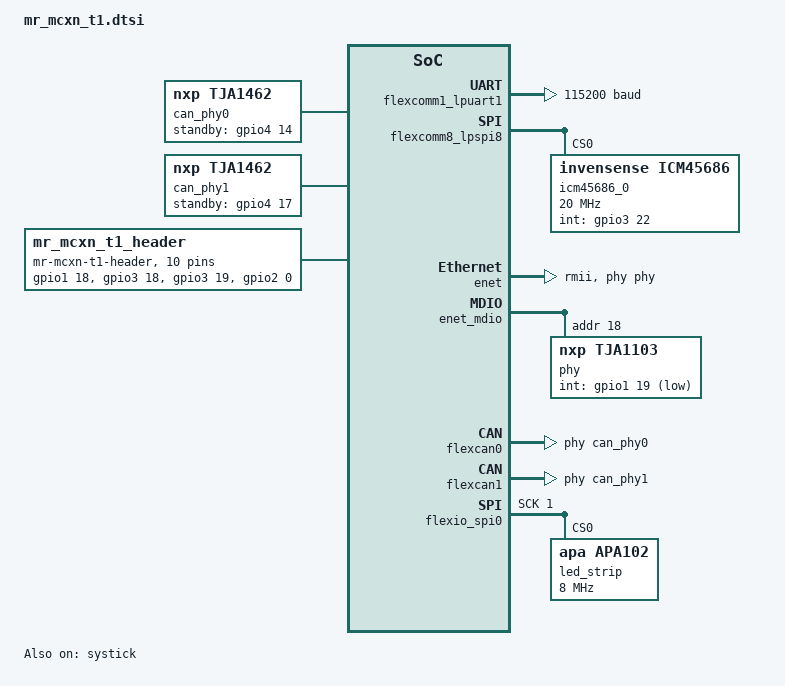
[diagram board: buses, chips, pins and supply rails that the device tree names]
/*
 * SPDX-FileCopyrightText: 2025 NXP
 * SPDX-FileCopyrightText: 2026 CogniPilot Foundation
 *
 * SPDX-License-Identifier: Apache-2.0
 */

#include "mr_mcxn_t1-pinctrl.dtsi"
#include <zephyr/dt-bindings/sensor/icm45686.h>
#include <zephyr/dt-bindings/led/led.h>

/ {
	can_phy0: can-phy0 {
		compatible = "nxp,tja1462", "can-transceiver-gpio";
		standby-gpios = <&gpio4 14 GPIO_ACTIVE_HIGH>;
		max-bitrate = <5000000>;
		#phy-cells = <0>;
	};

	can_phy1: can-phy1 {
		compatible = "nxp,tja1462", "can-transceiver-gpio";
		standby-gpios = <&gpio4 17 GPIO_ACTIVE_HIGH>;
		max-bitrate = <5000000>;
		#phy-cells = <0>;
	};

	/*
	 * Stacking-header connector nexus. Maps the raw GPIO control lines the
	 * expansion boards use (sensor interrupts, resets, indicator and user
	 * inputs) so expansion-board overlays reference stable nexus names
	 * instead of SoC GPIO controllers. The multiplexed peripheral buses are
	 * exposed separately below as labeled bus nodes.
	 */
	mr_mcxn_t1_header: mr-mcxn-t1-connector {
		compatible = "mr-mcxn-t1-header";
		#gpio-cells = <2>;
		gpio-map-mask = <0xffffffff 0xffffffc0>;
		gpio-map-pass-thru = <0 0x3f>;
		gpio-map = <0 0 &gpio1 18 0>, /* Optical flow AFBR-S50 INT */
			   <1 0 &gpio3 18 0>, /* Optical flow ICM-42688 INT */
			   <2 0 &gpio3 19 0>, /* Optical flow ICM-45686 INT */
			   <3 0 &gpio2 0 0>,  /* Optical flow PAA3905 INT */
			   <4 0 &gpio3 7 0>,  /* GNSS F9P reset */
			   <5 0 &gpio1 22 0>, /* GNSS RM3100 data-ready */
			   <6 0 &gpio3 9 0>,  /* GNSS fix-status indicator */
			   <7 0 &gpio3 0 0>,  /* GNSS F9P EXTINT time-mark */
			   <8 0 &gpio1 2 0>,  /* User input 0 */
			   <9 0 &gpio1 3 0>;  /* User input 1 */
	};
};

&flexcomm1_lpuart1 {
	current-speed = <115200>;
	pinctrl-0 = <&pinmux_flexcomm1_lpuart>;
	pinctrl-names = "default";
};

/*
 * I3C barometer and magnetometer. Left disabled by default: the I3C bus on
 * this board stalls in a busy-wait at startup, and keeping I3C off frees
 * flexcomm1 for the physical LPUART1 console (this board has no USB CDC ACM
 * console). Re-enable the bus and both sensors once the I3C startup behavior
 * is resolved.
 */
&i3c0 {
	status = "disabled";
	pinctrl-0 = <&pinmux_i3c0>;
	pinctrl-names = "default";
	i2c-scl-hz = <400000>;

	bmp581_0: bmp581_0@470000000000000050 {
		compatible = "bosch,bmp581";
		reg = <0x47 0x0 0x50>;
		status = "disabled";
	};

	bmm350_0: bmm350_0@140000000000000050 {
		compatible = "bosch,bmm350";
		reg = <0x14 0x0 0x50>;
		drdy-gpios = <&gpio0 19 GPIO_ACTIVE_HIGH>;
		push-pull-int;
		active-high-int;
		status = "disabled";
	};
};

/*
 * Stacking-header peripheral buses. Each bus carries its board-side pin
 * routing and is left disabled here; an expansion-board overlay enables the
 * function it needs. FlexCOMM3 and FlexCOMM7 are multiplexed across boards
 * (SPI, UART or I2C), so only one function per instance can be active at a
 * time.
 */
&flexcomm3_lpspi3 {
	pinctrl-0 = <&pinmux_flexcomm3_lpspi>;
	pinctrl-1 = <&pinmux_flexcomm3_lpspi_gpio>;
	pinctrl-names = "default", "priv_start";
};

mr_mcxn_t1_flow_spi_argus: &flexcomm3_lpspi3 {};

&flexcomm3_lpuart3 {
	pinctrl-0 = <&pinmux_flexcomm3_lpuart>;
	pinctrl-names = "default";
};

mr_mcxn_t1_gnss_uart2: &flexcomm3_lpuart3 {};

&flexcomm3_lpi2c3 {
	pinctrl-0 = <&pinmux_flexcomm3_lpi2c>;
	pinctrl-names = "default";
};

mr_mcxn_t1_flexio_i2c: &flexcomm3_lpi2c3 {};

&flexcomm4_lpi2c4 {
	pinctrl-0 = <&pinmux_flexcomm4_lpi2c>;
	pinctrl-names = "default";
};

mr_mcxn_t1_gnss_i2c: &flexcomm4_lpi2c4 {};

&flexcomm6_lpspi6 {
	pinctrl-0 = <&pinmux_flexcomm6_lpspi>;
	pinctrl-names = "default";
};

mr_mcxn_t1_flow_spi_imu42688: &flexcomm6_lpspi6 {};

&flexcomm7_lpspi7 {
	pinctrl-0 = <&pinmux_flexcomm7_lpspi>;
	pinctrl-names = "default";
};

mr_mcxn_t1_flow_spi_imu45686: &flexcomm7_lpspi7 {};

&flexcomm7_lpuart7 {
	pinctrl-0 = <&pinmux_flexcomm7_lpuart>;
	pinctrl-names = "default";
};

mr_mcxn_t1_gnss_uart: &flexcomm7_lpuart7 {};

&flexcomm9_lpspi9 {
	pinctrl-0 = <&pinmux_flexcomm9_lpspi>;
	pinctrl-names = "default";
};

mr_mcxn_t1_flow_spi_flow: &flexcomm9_lpspi9 {};

&flexcomm0_lpuart0 {
	pinctrl-0 = <&pinmux_flexcomm0_lpuart>;
	pinctrl-names = "default";
};

mr_mcxn_t1_flexio_uart0: &flexcomm0_lpuart0 {};

&flexcomm2_lpuart2 {
	pinctrl-0 = <&pinmux_flexcomm2_lpuart>;
	pinctrl-names = "default";
};

mr_mcxn_t1_flexio_uart2: &flexcomm2_lpuart2 {};

&flexpwm0_pwm0 {
	pinctrl-0 = <&pinmux_flexpwm0_pwm0>;
	pinctrl-names = "default";
};

mr_mcxn_t1_flexio_pwm0: &flexpwm0_pwm0 {};

&flexpwm1_pwm0 {
	pinctrl-0 = <&pinmux_flexpwm1_pwm0>;
	pinctrl-names = "default";
};

mr_mcxn_t1_flexio_pwm1: &flexpwm1_pwm0 {};

mr_mcxn_t1_flexio_adc: &lpadc1 {};

/* On-board hub IMU. */
&flexcomm8_lpspi8 {
	pinctrl-0 = <&pinmux_flexcomm8_lpspi>;
	pinctrl-names = "default";

	icm45686_0: icm45686_hub@0 {
		compatible = "invensense,icm45686";
		reg = <0>;
		spi-max-frequency = <DT_FREQ_M(20)>;
		int-gpios = <&gpio3 22 GPIO_ACTIVE_HIGH>;
		spi-cs-setup-delay-ns = <50>;
		spi-cs-hold-delay-ns = <50>;
		spi-interframe-delay-ns = <50>;
		accel-pwr-mode = <ICM45686_DT_ACCEL_LN>;
		accel-fs = <ICM45686_DT_ACCEL_FS_2>;
		accel-odr = <ICM45686_DT_ACCEL_ODR_400>;
		accel-lpf = <ICM45686_DT_ACCEL_LPF_BW_1_32>;
		gyro-pwr-mode = <ICM45686_DT_GYRO_LN>;
		gyro-fs = <ICM45686_DT_GYRO_FS_4000>;
		gyro-odr = <ICM45686_DT_GYRO_ODR_400>;
		gyro-lpf = <ICM45686_DT_GYRO_LPF_BW_1_32>;

		fifo-watermark = <1>;
	};
};

/*
 * The board uses SYSTICK as the kernel timer.
 * To switch to the OS timer instead, replace
 * &systick with &os_timer.
 */
&os_timer {
	status = "disabled";
};

&systick {
	status = "okay";
};

&sram {
	sramg: memory@20050000 {
		compatible = "mmio-sram";
		reg = <0x20050000 DT_SIZE_K(64)>;
	};

	sramh: memory@20060000 {
		compatible = "mmio-sram";
		reg = <0x20060000 DT_SIZE_K(32)>;
	};
};

&flash {
	partitions {
		#address-cells = <1>;
		#size-cells = <1>;
		ranges;

		/*
		 * Partition sizes must be aligned
		 * to the flash memory sector size of 8KB.
		 */
		boot_partition: partition@0 {
			compatible = "zephyr,mapped-partition";
			label = "mcuboot";
			reg = <0x00000000 DT_SIZE_K(80)>;
		};

		slot0_partition: partition@14000 {
			compatible = "zephyr,mapped-partition";
			label = "image-0";
			reg = <0x00014000 DT_SIZE_K(984)>;
		};

		slot1_partition: partition@10a000 {
			compatible = "zephyr,mapped-partition";
			label = "image-1";
			reg = <0x0010a000 DT_SIZE_K(984)>;
		};
	};
};

&enet {
	pinctrl-0 = <&pinmux_enet_qos>;
	pinctrl-names = "default";
	phy-connection-type = "rmii";
	nxp,unique-mac;
	phy-handle = <&phy>;
};

&enet_mdio {
	phy: ethernet-phy@12 {
		compatible = "nxp,tja1103";
		status = "okay";
		reg = <0x12>;
		int-gpios = <&gpio1 19 GPIO_ACTIVE_LOW>;
		master-slave = "auto";
	};
};

&enet_ptp_clock {
	status = "okay";
};

&flexcan0 {
	pinctrl-0 = <&pinmux_flexcan0>;
	pinctrl-names = "default";
	phys = <&can_phy0>;
};

&flexcan1 {
	pinctrl-0 = <&pinmux_flexcan1>;
	pinctrl-names = "default";
	phys = <&can_phy1>;
};

&flexio0 {
	flexio_spi0: flexio_spi0 {
		compatible = "nxp,flexio-spi";
		status = "okay";
		#address-cells = <1>;
		#size-cells = <0>;
		sdo-pin = <0>;
		sdi-pin = <0>;
		sck-pin = <1>;
		pinctrl-0 = <&pinmux_flexio_spi0>;
		pinctrl-names = "default";

		led_strip: apa102@0 {
			compatible = "apa,apa102";
			reg = <0>;
			spi-max-frequency = <DT_FREQ_M(8)>;
			chain-length = <1>;
			color-mapping = <LED_COLOR_ID_BLUE
					 LED_COLOR_ID_GREEN
					 LED_COLOR_ID_RED>;
		};
	};
};
